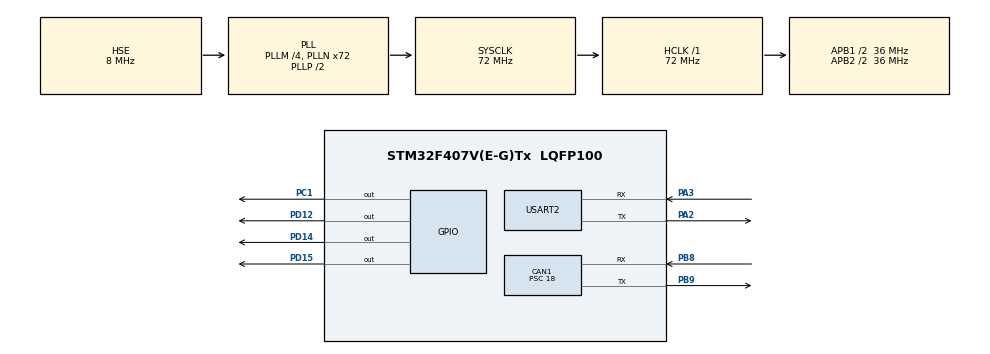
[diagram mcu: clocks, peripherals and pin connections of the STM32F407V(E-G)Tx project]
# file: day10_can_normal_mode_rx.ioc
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CAN1.BS1=CAN_BS1_2TQ
CAN1.CalculateBaudRate=500000
CAN1.CalculateTimeBit=2000
CAN1.CalculateTimeQuantum=500.0
CAN1.Prescaler=18
Mcu.Family=STM32F4
Mcu.Name=STM32F407V(E-G)Tx
Mcu.Package=LQFP100
NVIC.CAN1_RX0_IRQn=true\:0\:0\:false\:false\:true\:true\:true\:true
NVIC.PriorityGroup=NVIC_PRIORITYGROUP_0
PA2.Mode=Asynchronous
PA2.Signal=USART2_TX
PA3.Mode=Asynchronous
PA3.Signal=USART2_RX
PB8.Mode=CAN_Activate
PB8.Signal=CAN1_RX
PB9.Mode=CAN_Activate
PB9.Signal=CAN1_TX
PC1.Signal=GPIO_Output
PD12.Signal=GPIO_Output
PD14.Signal=GPIO_Output
PD15.Signal=GPIO_Output
PH0-OSC_IN.Mode=HSE-External-Oscillator
PH0-OSC_IN.Signal=RCC_OSC_IN
PH1-OSC_OUT.Mode=HSE-External-Oscillator
PH1-OSC_OUT.Signal=RCC_OSC_OUT
ProjectManager.HeapSize=0x200
ProjectManager.StackSize=0x400
ProjectManager.TargetToolchain=STM32CubeIDE
RCC.48MHZClocksFreq_Value=20571428.57142857
RCC.AHBFreq_Value=72000000
RCC.APB1CLKDivider=RCC_HCLK_DIV2
RCC.APB1Freq_Value=36000000
RCC.APB1TimFreq_Value=72000000
RCC.APB2CLKDivider=RCC_HCLK_DIV2
RCC.APB2Freq_Value=36000000
RCC.APB2TimFreq_Value=72000000
RCC.CortexFreq_Value=72000000
RCC.HCLKFreq_Value=72000000
RCC.HSE_VALUE=8000000
RCC.HSI_VALUE=16000000
RCC.LSE_VALUE=32768
RCC.PLLM=4
RCC.PLLN=72
RCC.PLLQ=7
RCC.PLLSourceVirtual=RCC_PLLSOURCE_HSE
RCC.SYSCLKFreq_VALUE=72000000
RCC.SYSCLKSource=RCC_SYSCLKSOURCE_PLLCLK
RCC.VCOOutputFreq_Value=144000000
USART2.VirtualMode=VM_ASYNC
board=STM32F407G-DISC1

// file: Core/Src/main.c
/* USER CODE BEGIN Header */
/**
  ******************************************************************************
  * @file           : main.c
  * @brief          : Main program body
  ******************************************************************************
  * @attention
  *
  * Copyright (c) 2024 STMicroelectronics.
  * All rights reserved.
  *
  * This software is licensed under terms that can be found in the LICENSE file
  * in the root directory of this software component.
  * If no LICENSE file comes with this software, it is provided AS-IS.
  *
  ******************************************************************************
  */
/* USER CODE END Header */
#include "main.h"

/* USER CODE BEGIN Includes */
#include <stdio.h>
#include <string.h>
/* USER CODE END Includes */

CAN_HandleTypeDef hcan1;

UART_HandleTypeDef huart2;

void SystemClock_Config(void);
static void MX_GPIO_Init(void);
static void MX_CAN1_Init(void);
static void MX_USART2_UART_Init(void);

/* USER CODE BEGIN 0 */
CAN_RxHeaderTypeDef RxHeader;
uint8_t RxData[8];
char uartDataBuffer[50];
float sensor_val;

void HAL_CAN_RxFifo0MsgPendingCallback(CAN_HandleTypeDef *hcan)
{
	HAL_GPIO_TogglePin(GPIOD, GPIO_PIN_12);

	if(HAL_CAN_GetRxMessage(hcan, CAN_RX_FIFO0, &RxHeader, (uint8_t*)RxData) == HAL_OK)
	{
		sensor_val = RxData[0];

		if(RxHeader.StdId == 0x0AD){
			sprintf(uartDataBuffer,"alcohol concentration = %f \r\n",sensor_val);
			HAL_UART_Transmit(&huart2, (const uint8_t*)uartDataBuffer, strlen(uartDataBuffer), HAL_MAX_DELAY);
			HAL_GPIO_TogglePin(GPIOD, GPIO_PIN_15);

			if(sensor_val<200)
			{
			  HAL_GPIO_WritePin(GPIOC, GPIO_PIN_1, GPIO_PIN_SET);

			}
			else
			{
			  HAL_GPIO_WritePin(GPIOC, GPIO_PIN_1, GPIO_PIN_RESET);
			}

		}
	}
}
/* USER CODE END 0 */

int main(void)
{

  /* MCU Configuration--------------------------------------------------------*/

  /* Reset of all peripherals, Initializes the Flash interface and the Systick. */
  HAL_Init();

  /* Configure the system clock */
  SystemClock_Config();

  /* Initialize all configured peripherals */
  MX_GPIO_Init();
  MX_CAN1_Init();
  MX_USART2_UART_Init();
  /* USER CODE BEGIN 2 */
  HAL_CAN_Start(&hcan1);
  HAL_CAN_ActivateNotification(&hcan1, CAN_IT_RX_FIFO0_MSG_PENDING);

  sprintf(uartDataBuffer,"waiting for CAN Messages ...\n\r");
  HAL_UART_Transmit(&huart2, (uint8_t*)uartDataBuffer, strlen(uartDataBuffer), HAL_MAX_DELAY);
  /* USER CODE END 2 */

  /* Infinite loop */
  while (1)
  {

  }
}

void SystemClock_Config(void)
{
  RCC_OscInitTypeDef RCC_OscInitStruct = {0};
  RCC_ClkInitTypeDef RCC_ClkInitStruct = {0};

  /** Configure the main internal regulator output voltage
  */
  __HAL_RCC_PWR_CLK_ENABLE();
  __HAL_PWR_VOLTAGESCALING_CONFIG(PWR_REGULATOR_VOLTAGE_SCALE1);

  /** Initializes the RCC Oscillators according to the specified parameters
  * in the RCC_OscInitTypeDef structure.
  */
  RCC_OscInitStruct.OscillatorType = RCC_OSCILLATORTYPE_HSE;
  RCC_OscInitStruct.HSEState = RCC_HSE_ON;
  RCC_OscInitStruct.PLL.PLLState = RCC_PLL_ON;
  RCC_OscInitStruct.PLL.PLLSource = RCC_PLLSOURCE_HSE;
  RCC_OscInitStruct.PLL.PLLM = 4;
  RCC_OscInitStruct.PLL.PLLN = 72;
  RCC_OscInitStruct.PLL.PLLP = RCC_PLLP_DIV2;
  RCC_OscInitStruct.PLL.PLLQ = 7;
  if (HAL_RCC_OscConfig(&RCC_OscInitStruct) != HAL_OK)
  {
    Error_Handler();
  }

  /** Initializes the CPU, AHB and APB buses clocks
  */
  RCC_ClkInitStruct.ClockType = RCC_CLOCKTYPE_HCLK|RCC_CLOCKTYPE_SYSCLK
                              |RCC_CLOCKTYPE_PCLK1|RCC_CLOCKTYPE_PCLK2;
  RCC_ClkInitStruct.SYSCLKSource = RCC_SYSCLKSOURCE_PLLCLK;
  RCC_ClkInitStruct.AHBCLKDivider = RCC_SYSCLK_DIV1;
  RCC_ClkInitStruct.APB1CLKDivider = RCC_HCLK_DIV2;
  RCC_ClkInitStruct.APB2CLKDivider = RCC_HCLK_DIV2;

  if (HAL_RCC_ClockConfig(&RCC_ClkInitStruct, FLASH_LATENCY_2) != HAL_OK)
  {
    Error_Handler();
  }
}

static void MX_CAN1_Init(void)
{

  hcan1.Instance = CAN1;
  hcan1.Init.Prescaler = 18;
  hcan1.Init.Mode = CAN_MODE_NORMAL;
  hcan1.Init.SyncJumpWidth = CAN_SJW_1TQ;
  hcan1.Init.TimeSeg1 = CAN_BS1_2TQ;
  hcan1.Init.TimeSeg2 = CAN_BS2_1TQ;
  hcan1.Init.TimeTriggeredMode = DISABLE;
  hcan1.Init.AutoBusOff = DISABLE;
  hcan1.Init.AutoWakeUp = DISABLE;
  hcan1.Init.AutoRetransmission = DISABLE;
  hcan1.Init.ReceiveFifoLocked = DISABLE;
  hcan1.Init.TransmitFifoPriority = DISABLE;
  if (HAL_CAN_Init(&hcan1) != HAL_OK)
  {
    Error_Handler();
  }
  /* USER CODE BEGIN CAN1_Init 2 */
  CAN_FilterTypeDef FilterConfig;
  FilterConfig.SlaveStartFilterBank = 9; // CAN1-0 to 8, CAN2-9 to 27
  FilterConfig.FilterActivation = CAN_FILTER_ENABLE;
  FilterConfig.FilterBank = 5; // Use any Filter from 0 to 8
  FilterConfig.FilterScale = CAN_FILTERSCALE_32BIT; // Use a 32-bit filter
  FilterConfig.FilterMode = CAN_FILTERMODE_IDMASK;
  FilterConfig.FilterMaskIdHigh = 0x0000;
  FilterConfig.FilterMaskIdLow = 0x0000;
  FilterConfig.FilterIdHigh = 0x0000;
  FilterConfig.FilterIdLow = 0x0000;
  FilterConfig.FilterFIFOAssignment = CAN_RX_FIFO0;

  if(HAL_CAN_ConfigFilter(&hcan1, &FilterConfig) != HAL_OK)
    Error_Handler();
  /* USER CODE END CAN1_Init 2 */

}

static void MX_USART2_UART_Init(void)
{

  huart2.Instance = USART2;
  huart2.Init.BaudRate = 115200;
  huart2.Init.WordLength = UART_WORDLENGTH_8B;
  huart2.Init.StopBits = UART_STOPBITS_1;
  huart2.Init.Parity = UART_PARITY_NONE;
  huart2.Init.Mode = UART_MODE_TX_RX;
  huart2.Init.HwFlowCtl = UART_HWCONTROL_NONE;
  huart2.Init.OverSampling = UART_OVERSAMPLING_16;
  if (HAL_UART_Init(&huart2) != HAL_OK)
  {
    Error_Handler();
  }

}

static void MX_GPIO_Init(void)
{
  GPIO_InitTypeDef GPIO_InitStruct = {0};

  /* GPIO Ports Clock Enable */
  __HAL_RCC_GPIOH_CLK_ENABLE();
  __HAL_RCC_GPIOC_CLK_ENABLE();
  __HAL_RCC_GPIOA_CLK_ENABLE();
  __HAL_RCC_GPIOD_CLK_ENABLE();
  __HAL_RCC_GPIOB_CLK_ENABLE();

  /*Configure GPIO pin Output Level */
  HAL_GPIO_WritePin(GPIOC, GPIO_PIN_1, GPIO_PIN_RESET);

  /*Configure GPIO pin Output Level */
  HAL_GPIO_WritePin(GPIOD, GPIO_PIN_12|GPIO_PIN_14|GPIO_PIN_15, GPIO_PIN_RESET);

  /*Configure GPIO pin : PC1 */
  GPIO_InitStruct.Pin = GPIO_PIN_1;
  GPIO_InitStruct.Mode = GPIO_MODE_OUTPUT_PP;
  GPIO_InitStruct.Pull = GPIO_NOPULL;
  GPIO_InitStruct.Speed = GPIO_SPEED_FREQ_LOW;
  HAL_GPIO_Init(GPIOC, &GPIO_InitStruct);

  /*Configure GPIO pins : PD12 PD14 PD15 */
  GPIO_InitStruct.Pin = GPIO_PIN_12|GPIO_PIN_14|GPIO_PIN_15;
  GPIO_InitStruct.Mode = GPIO_MODE_OUTPUT_PP;
  GPIO_InitStruct.Pull = GPIO_NOPULL;
  GPIO_InitStruct.Speed = GPIO_SPEED_FREQ_LOW;
  HAL_GPIO_Init(GPIOD, &GPIO_InitStruct);

}

void Error_Handler(void)
{
  /* USER CODE BEGIN Error_Handler_Debug */
  /* User can add his own implementation to report the HAL error return state */
  __disable_irq();
  while (1)
  {
	  HAL_GPIO_TogglePin(GPIOD, GPIO_PIN_14);
	  HAL_Delay(100);
  }
  /* USER CODE END Error_Handler_Debug */
}
